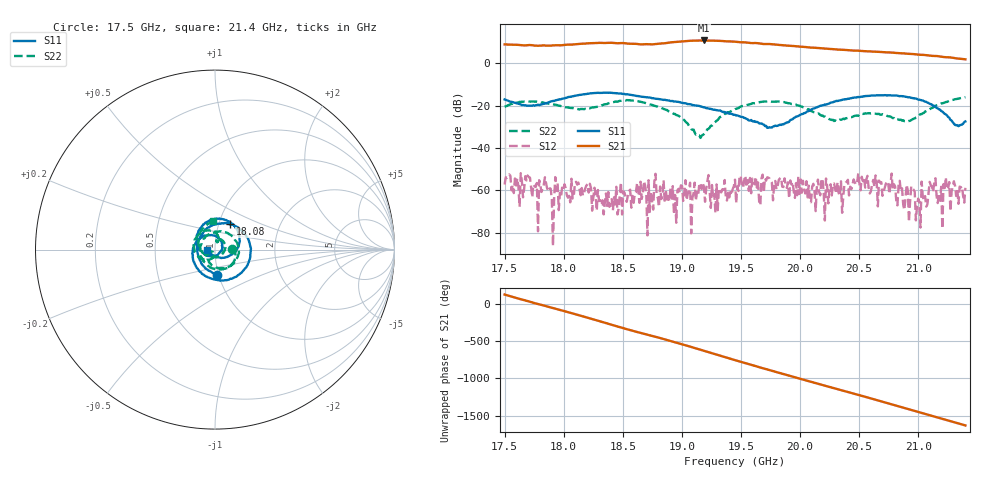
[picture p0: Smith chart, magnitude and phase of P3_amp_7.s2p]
!Created with skrf (http://scikit-rf.org).
# GHz S RI R 50.0
!freq ReS11 ImS11 ReS21 ImS21 ReS12 ImS12 ReS22 ImS22
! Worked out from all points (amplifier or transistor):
!   401 points, 17.5 GHz to 21.4 GHz, reference 50 ohm
!   highest |S21| = 10.7 dB at 19.19 GHz (marker M1)
!   |S21| within 3 dB of that: start of sweep to 20.02 GHz
!   unconditionally stable (mu >= 1): start of sweep to end of sweep
!   at 18.14 GHz: K = 219.01, MAG = 9.3 dB, |S12| = -62.3 dB
!   at 19.45 GHz: K = 86.18, MAG = 10.2 dB, |S12| = -55.0 dB
!   at 21.4 GHz: K = 345.67, MAG = 1.9 dB, |S12| = -58.8 dB
!   S11 on the Smith chart (normalised r, x): 17.5 GHz: 0.99, -0.28; 18.08 GHz: 1.14, +0.33; 21.4 GHz: 0.92, -0.01
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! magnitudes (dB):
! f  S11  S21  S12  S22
! 17.5 GHz  -17.1  8.9  -57.3  -20.6
! 17.7 GHz  -20.1  8.5  -53.0  -18.0
! 17.8 GHz  -19.6  8.3  -57.5  -18.4
! 17.85 GHz  -19.0  8.3  -56.6  -18.9
! 17.9 GHz  -18.0  8.3  -64.3  -19.3
! 18.08 GHz  -15.6  8.8  -63.9  -21.1
! 18.15 GHz  -14.9  9.2  -58.9  -21.6
! 18.33 GHz  -14.0  9.6  -64.7  -19.9
! 18.67 GHz  -15.9  8.9  -61.3  -18.5
! 18.81 GHz  -16.9  9.2  -67.8  -20.8
! 19.19 GHz  -20.9  10.7  -58.3  -33.5
! 19.45 GHz  -24.4  10.1  -55.0  -21.7
! 19.74 GHz  -30.2  9.0  -54.4  -18.1
! 20.1 GHz  -21.7  7.3  -58.3  -22.8
! 20.76 GHz  -15.2  5.1  -61.8  -25.1
! 20.9 GHz  -15.9  4.5  -57.4  -27.2
! 20.95 GHz  -16.5  4.3  -59.2  -26.6
! 21 GHz  -17.2  4.1  -63.9  -25.2
! 21.13 GHz  -20.1  3.4  -60.8  -21.0
! 21.19 GHz  -22.0  3.2  -64.8  -19.3
! 21.23 GHz  -24.2  2.8  -53.9  -18.3
! 21.4 GHz  -27.5  1.8  -58.8  -16.0
